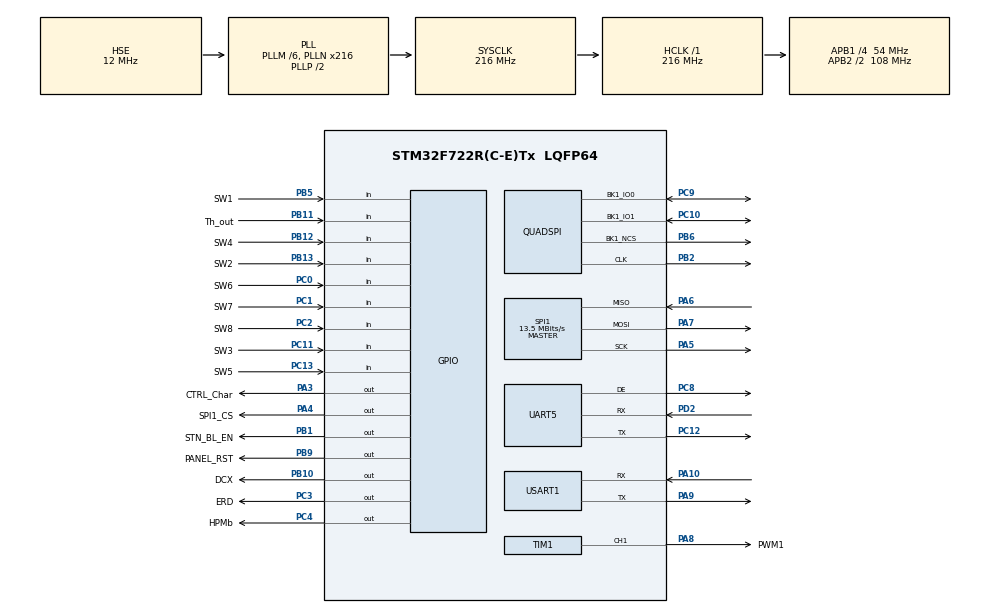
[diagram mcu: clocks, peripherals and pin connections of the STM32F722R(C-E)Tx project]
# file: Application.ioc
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CORTEX_M7.ART_ACCLERATOR_ENABLE=1
CORTEX_M7.CPU_DCache=Enabled
CORTEX_M7.CPU_ICache=Enabled
CORTEX_M7.PREFETCH_ENABLE=1
FREERTOS.Tasks01=TouchgfxTask,24,4096,StartTouchgfxTask,Default,NULL,Dynamic,NULL,NULL
FREERTOS.configTOTAL_HEAP_SIZE=65536
FREERTOS.configUSE_APPLICATION_TASK_TAG=1
FREERTOS.configUSE_IDLE_HOOK=1
FREERTOS.configUSE_TICK_HOOK=1
Mcu.Family=STM32F7
Mcu.Name=STM32F722R(C-E)Tx
Mcu.Package=LQFP64
NVIC.PriorityGroup=NVIC_PRIORITYGROUP_4
NVIC.SPI1_IRQn=true\:6\:0\:true\:false\:true\:true\:true\:true
NVIC.TIM6_DAC_IRQn=true\:0\:0\:false\:false\:true\:false\:false\:true
NVIC.TIM7_IRQn=true\:6\:0\:true\:false\:true\:true\:true\:true
NVIC.TIM8_BRK_TIM12_IRQn=true\:5\:0\:false\:false\:true\:true\:true\:true
NVIC.TimeBase=TIM6_DAC_IRQn
NVIC.TimeBaseIP=TIM6
NVIC.UART5_IRQn=true\:5\:0\:false\:false\:true\:true\:true\:true
NVIC.USART1_IRQn=true\:5\:0\:false\:false\:true\:true\:true\:true
PA0-WKUP.Mode=SYS_WakeUp0
PA0-WKUP.Signal=SYS_WKUP1
PA10.Mode=Asynchronous
PA10.Signal=USART1_RX
PA13.Mode=Serial_Wire
PA13.Signal=SYS_JTMS-SWDIO
PA14.Mode=Serial_Wire
PA14.Signal=SYS_JTCK-SWCLK
PA3.GPIO_Label=CTRL_Char
PA3.GPIO_Speed=GPIO_SPEED_FREQ_VERY_HIGH
PA3.Signal=GPIO_Output
PA4.GPIO_Label=SPI1_CS
PA4.GPIO_Speed=GPIO_SPEED_FREQ_VERY_HIGH
PA4.PinState=GPIO_PIN_SET
PA4.Signal=GPIO_Output
PA5.Mode=Full_Duplex_Master
PA5.Signal=SPI1_SCK
PA6.Mode=Full_Duplex_Master
PA6.Signal=SPI1_MISO
PA7.Mode=Full_Duplex_Master
PA7.Signal=SPI1_MOSI
PA8.GPIO_Label=PWM1
PA8.GPIO_Speed=GPIO_SPEED_FREQ_VERY_HIGH
PA8.Signal=S_TIM1_CH1
PA9.Mode=Asynchronous
PA9.Signal=USART1_TX
PB1.GPIO_Label=STN_BL_EN
PB1.Signal=GPIO_Output
PB10.GPIO_Label=DCX
PB10.GPIO_Speed=GPIO_SPEED_FREQ_VERY_HIGH
PB10.PinState=GPIO_PIN_SET
PB10.Signal=GPIO_Output
PB11.GPIO_Label=Th_out
PB11.Signal=GPIO_Input
PB12.GPIO_Label=SW4
PB12.Signal=GPIO_Input
PB13.GPIO_Label=SW2
PB13.Signal=GPIO_Input
PB2.Mode=Single Bank 1 2IOs
PB2.Signal=QUADSPI_CLK
PB5.GPIO_Label=SW1
PB5.Signal=GPIO_Input
PB6.Mode=Single Bank 1 2IOs
PB6.Signal=QUADSPI_BK1_NCS
PB9.GPIO_Label=PANEL_RST
PB9.GPIO_Speed=GPIO_SPEED_FREQ_VERY_HIGH
PB9.Signal=GPIO_Output
PC0.GPIO_Label=SW6
PC0.Signal=GPIO_Input
PC1.GPIO_Label=SW7
PC1.Signal=GPIO_Input
PC10.Mode=Single Bank 1 2IOs
PC10.Signal=QUADSPI_BK1_IO1
PC11.GPIO_Label=SW3
PC11.Signal=GPIO_Input
PC12.Mode=Asynchronous
PC12.Signal=UART5_TX
PC13.GPIO_Label=SW5
PC13.Signal=GPIO_Input
PC14-OSC32_IN.Mode=LSE-External-Oscillator
PC14-OSC32_IN.Signal=RCC_OSC32_IN
PC15-OSC32_OUT.Mode=LSE-External-Oscillator
PC15-OSC32_OUT.Signal=RCC_OSC32_OUT
PC2.GPIO_Label=SW8
PC2.Signal=GPIO_Input
PC3.GPIO_Label=ERD
PC3.GPIO_Speed=GPIO_SPEED_FREQ_VERY_HIGH
PC3.PinState=GPIO_PIN_SET
PC3.Signal=GPIO_Output
PC4.GPIO_Label=HPMb
PC4.GPIO_Speed=GPIO_SPEED_FREQ_VERY_HIGH
PC4.PinState=GPIO_PIN_SET
PC4.Signal=GPIO_Output
PC8.Mode=Hardware Flow Control (RS485)
PC8.Signal=UART5_DE
PC9.Mode=Single Bank 1 2IOs
PC9.Signal=QUADSPI_BK1_IO0
PD2.Mode=Asynchronous
PD2.Signal=UART5_RX
PH0-OSC_IN.Mode=HSE-External-Oscillator
PH0-OSC_IN.Signal=RCC_OSC_IN
PH1-OSC_OUT.Mode=HSE-External-Oscillator
PH1-OSC_OUT.Signal=RCC_OSC_OUT
ProjectManager.HeapSize=0x200
ProjectManager.StackSize=0x400
ProjectManager.TargetToolchain=STM32CubeIDE
RCC.AHBFreq_Value=216000000
RCC.APB1CLKDivider=RCC_HCLK_DIV4
RCC.APB1Freq_Value=54000000
RCC.APB1TimFreq_Value=108000000
RCC.APB2CLKDivider=RCC_HCLK_DIV2
RCC.APB2Freq_Value=108000000
RCC.APB2TimFreq_Value=216000000
RCC.CortexFreq_Value=216000000
RCC.HCLKFreq_Value=216000000
RCC.HSE_VALUE=12000000
RCC.HSI_VALUE=16000000
RCC.PLLM=6
RCC.PLLN=216
RCC.PLLSourceVirtual=RCC_PLLSOURCE_HSE
RCC.PWREXT_OverDrive=PWREXT_OverDrive_ACTIVATED
RCC.PWR_Regulator_Voltage_Scale=PWR_REGULATOR_VOLTAGE_SCALE1
RCC.SYSCLKFreq_VALUE=216000000
RCC.SYSCLKSource=RCC_SYSCLKSOURCE_PLLCLK
RCC.USBFreq_Value=216000000
RCC.VCOOutputFreq_Value=432000000
SH.S_TIM1_CH1.0=TIM1_CH1,PWM Generation1 CH1
SPI1.BaudRatePrescaler=SPI_BAUDRATEPRESCALER_8
SPI1.CalculateBaudRate=13.5 MBits/s
SPI1.DataSize=SPI_DATASIZE_9BIT
SPI1.Direction=SPI_DIRECTION_2LINES
SPI1.Mode=SPI_MODE_MASTER
SPI1.VirtualType=VM_MASTER
STMicroelectronics.X-CUBE-TOUCHGFX.4.16.1.ApplicationCcGraphicsJjApplication=TouchGFXOoGenerator
STMicroelectronics.X-CUBE-TOUCHGFX.4.16.1.tgfx_buffering_strategy=Single
STMicroelectronics.X-CUBE-TOUCHGFX.4.16.1.tgfx_custom_height=128
STMicroelectronics.X-CUBE-TOUCHGFX.4.16.1.tgfx_custom_width=160
STMicroelectronics.X-CUBE-TOUCHGFX.4.16.1.tgfx_pixel_format=RGB565\:16
TIM1.Channel-PWM\ Generation1\ CH1=TIM_CHANNEL_1
TIM1.OCPolarity_1=TIM_OCPOLARITY_LOW
TIM1.Period=100-1
TIM1.Prescaler=1080-1
TIM12.Period=65535
TIM7.Period=500-1
TIM7.Prescaler=1800-1
USART1.VirtualMode-Asynchronous=VM_ASYNC
VP_CRC_VS_CRC.Mode=CRC_Activate
VP_FREERTOS_VS_CMSIS_V2.Mode=CMSIS_V2
VP_STMicroelectronics.X-CUBE-TOUCHGFX_VS_GraphicsJjApplication_4.16.1.Mode=GraphicsJjApplication
VP_SYS_VS_tim6.Mode=TIM6
VP_TIM12_VS_ClockSourceINT.Mode=Internal
VP_TIM1_VS_ClockSourceINT.Mode=Internal
VP_TIM7_VS_ClockSourceINT.Mode=Enable_Timer
board=custom

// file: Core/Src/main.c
/* USER CODE BEGIN Header */
/**
  ******************************************************************************
  * @file           : main.c
  * @brief          : Main program body
  ******************************************************************************
  * @attention
  *
  * <h2><center>&copy; Copyright (c) 2022 STMicroelectronics.
  * All rights reserved.</center></h2>
  *
  * This software component is licensed by ST under Ultimate Liberty license
  * SLA0044, the "License"; You may not use this file except in compliance with
  * the License. You may obtain a copy of the License at:
  *                             www.st.com/SLA0044
  *
  ******************************************************************************
  */
/* USER CODE END Header */
#include "main.h"
#include "cmsis_os.h"
#include "app_touchgfx.h"

/* USER CODE BEGIN Includes */
#include <../Drivers/Panel/ST7735S.h>
#include "ExHardware.h"

/* USER CODE END Includes */

/* USER CODE BEGIN PTD */
extern uint8_t pucByte;
/* USER CODE END PTD */

CRC_HandleTypeDef hcrc;

QSPI_HandleTypeDef hqspi;

SPI_HandleTypeDef hspi1;

TIM_HandleTypeDef htim1;
TIM_HandleTypeDef htim7;
TIM_HandleTypeDef htim12;

UART_HandleTypeDef huart5;
UART_HandleTypeDef huart1;

/* Definitions for TouchgfxTask */
osThreadId_t TouchgfxTaskHandle;
const osThreadAttr_t TouchgfxTask_attributes = {
  .name = "TouchgfxTask",
  .stack_size = 4096 * 4,
  .priority = (osPriority_t) osPriorityNormal,
};

void SystemClock_Config(void);
static void MX_GPIO_Init(void);
static void MX_CRC_Init(void);
static void MX_QUADSPI_Init(void);
static void MX_SPI1_Init(void);
static void MX_TIM7_Init(void);
static void MX_TIM12_Init(void);
static void MX_UART5_Init(void);
static void MX_USART1_UART_Init(void);
static void MX_TIM1_Init(void);
void StartTouchgfxTask(void *argument);

/* USER CODE BEGIN 0 */

#ifdef __GNUC__
/* With GCC, small printf (option LD Linker->Libraries->Small printf
   set to 'Yes') calls __io_putchar() */
#define PUTCHAR_PROTOTYPE int __io_putchar(int ch)
#else
#define PUTCHAR_PROTOTYPE int fputc(int ch, FILE *f)
#endif /* __GNUC__ */

/**
  * @brief  Retargets the C library printf function to the USART.
  * @param  None
  * @retval None
  */
#if 1
PUTCHAR_PROTOTYPE
{
  /* Place your implementation of fputc here */
  /* e.g. write a character to the EVAL_COM1 and Loop until the end of transmission */
  HAL_UART_Transmit(&huart1, (uint8_t *)&ch, 1, 0xFFFF);

  return ch;
}
#endif

/* USER CODE END 0 */

int main(void)
{

  /* Enable I-Cache---------------------------------------------------------*/
  SCB_EnableICache();

  /* Enable D-Cache---------------------------------------------------------*/
  SCB_EnableDCache();

  /* MCU Configuration--------------------------------------------------------*/

  /* Reset of all peripherals, Initializes the Flash interface and the Systick. */
  HAL_Init();

  /* Configure the system clock */
  SystemClock_Config();

  /* Initialize all configured peripherals */
  MX_GPIO_Init();
  MX_CRC_Init();
  MX_QUADSPI_Init();
  MX_SPI1_Init();
  MX_TIM7_Init();
  MX_TIM12_Init();
  MX_UART5_Init();
  MX_USART1_UART_Init();
  MX_TIM1_Init();
  MX_TouchGFX_Init();
  /* USER CODE BEGIN 2 */
  uint8_t test = 6;
  HAL_UART_Receive_IT(&huart5, &pucByte, 1);
	HAL_GPIO_WritePin( GPIOC, GPIO_PIN_8, GPIO_PIN_SET );
	HAL_UART_Transmit(&huart5, &test, 1, 100);
	HAL_GPIO_WritePin( GPIOC, GPIO_PIN_8, GPIO_PIN_RESET );
  /* Output a message on Hyperterminal using printf function */
  printf("UART Printf Example: retarget the C library printf function to the UART\n\r");
  printf("** Test finished successfully. ** \n\r");

  /* USER CODE END 2 */

  /* Init scheduler */
  osKernelInitialize();

  /* Create the thread(s) */
  /* creation of TouchgfxTask */
  TouchgfxTaskHandle = osThreadNew(StartTouchgfxTask, NULL, &TouchgfxTask_attributes);

  /* Start scheduler */
  osKernelStart();

  /* We should never get here as control is now taken by the scheduler */
  /* Infinite loop */
  while (1)
  {

  }
}

void SystemClock_Config(void)
{
  RCC_OscInitTypeDef RCC_OscInitStruct = {0};
  RCC_ClkInitTypeDef RCC_ClkInitStruct = {0};
  RCC_PeriphCLKInitTypeDef PeriphClkInitStruct = {0};

  /** Configure LSE Drive Capability
  */
  HAL_PWR_EnableBkUpAccess();
  /** Configure the main internal regulator output voltage
  */
  __HAL_RCC_PWR_CLK_ENABLE();
  __HAL_PWR_VOLTAGESCALING_CONFIG(PWR_REGULATOR_VOLTAGE_SCALE1);
  /** Initializes the RCC Oscillators according to the specified parameters
  * in the RCC_OscInitTypeDef structure.
  */
  RCC_OscInitStruct.OscillatorType = RCC_OSCILLATORTYPE_HSE;
  RCC_OscInitStruct.HSEState = RCC_HSE_ON;
  RCC_OscInitStruct.PLL.PLLState = RCC_PLL_ON;
  RCC_OscInitStruct.PLL.PLLSource = RCC_PLLSOURCE_HSE;
  RCC_OscInitStruct.PLL.PLLM = 6;
  RCC_OscInitStruct.PLL.PLLN = 216;
  RCC_OscInitStruct.PLL.PLLP = RCC_PLLP_DIV2;
  RCC_OscInitStruct.PLL.PLLQ = 2;
  if (HAL_RCC_OscConfig(&RCC_OscInitStruct) != HAL_OK)
  {
    Error_Handler();
  }
  /** Activate the Over-Drive mode
  */
  if (HAL_PWREx_EnableOverDrive() != HAL_OK)
  {
    Error_Handler();
  }
  /** Initializes the CPU, AHB and APB buses clocks
  */
  RCC_ClkInitStruct.ClockType = RCC_CLOCKTYPE_HCLK|RCC_CLOCKTYPE_SYSCLK
                              |RCC_CLOCKTYPE_PCLK1|RCC_CLOCKTYPE_PCLK2;
  RCC_ClkInitStruct.SYSCLKSource = RCC_SYSCLKSOURCE_PLLCLK;
  RCC_ClkInitStruct.AHBCLKDivider = RCC_SYSCLK_DIV1;
  RCC_ClkInitStruct.APB1CLKDivider = RCC_HCLK_DIV4;
  RCC_ClkInitStruct.APB2CLKDivider = RCC_HCLK_DIV2;

  if (HAL_RCC_ClockConfig(&RCC_ClkInitStruct, FLASH_LATENCY_7) != HAL_OK)
  {
    Error_Handler();
  }
  PeriphClkInitStruct.PeriphClockSelection = RCC_PERIPHCLK_USART1|RCC_PERIPHCLK_UART5;
  PeriphClkInitStruct.Usart1ClockSelection = RCC_USART1CLKSOURCE_PCLK2;
  PeriphClkInitStruct.Uart5ClockSelection = RCC_UART5CLKSOURCE_PCLK1;
  if (HAL_RCCEx_PeriphCLKConfig(&PeriphClkInitStruct) != HAL_OK)
  {
    Error_Handler();
  }
}

static void MX_CRC_Init(void)
{

  hcrc.Instance = CRC;
  hcrc.Init.DefaultPolynomialUse = DEFAULT_POLYNOMIAL_ENABLE;
  hcrc.Init.DefaultInitValueUse = DEFAULT_INIT_VALUE_ENABLE;
  hcrc.Init.InputDataInversionMode = CRC_INPUTDATA_INVERSION_NONE;
  hcrc.Init.OutputDataInversionMode = CRC_OUTPUTDATA_INVERSION_DISABLE;
  hcrc.InputDataFormat = CRC_INPUTDATA_FORMAT_BYTES;
  if (HAL_CRC_Init(&hcrc) != HAL_OK)
  {
    Error_Handler();
  }

}

static void MX_QUADSPI_Init(void)
{

  /* QUADSPI parameter configuration*/
  hqspi.Instance = QUADSPI;
  hqspi.Init.ClockPrescaler = 255;
  hqspi.Init.FifoThreshold = 1;
  hqspi.Init.SampleShifting = QSPI_SAMPLE_SHIFTING_NONE;
  hqspi.Init.FlashSize = 1;
  hqspi.Init.ChipSelectHighTime = QSPI_CS_HIGH_TIME_1_CYCLE;
  hqspi.Init.ClockMode = QSPI_CLOCK_MODE_0;
  hqspi.Init.FlashID = QSPI_FLASH_ID_1;
  hqspi.Init.DualFlash = QSPI_DUALFLASH_DISABLE;
  if (HAL_QSPI_Init(&hqspi) != HAL_OK)
  {
    Error_Handler();
  }
  /* USER CODE BEGIN QUADSPI_Init 2 */
  ex_flash_init( );
  /* USER CODE END QUADSPI_Init 2 */

}

static void MX_SPI1_Init(void)
{

  /* SPI1 parameter configuration*/
  hspi1.Instance = SPI1;
  hspi1.Init.Mode = SPI_MODE_MASTER;
  hspi1.Init.Direction = SPI_DIRECTION_2LINES;
  hspi1.Init.DataSize = SPI_DATASIZE_9BIT;
  hspi1.Init.CLKPolarity = SPI_POLARITY_LOW;
  hspi1.Init.CLKPhase = SPI_PHASE_1EDGE;
  hspi1.Init.NSS = SPI_NSS_SOFT;
  hspi1.Init.BaudRatePrescaler = SPI_BAUDRATEPRESCALER_8;
  hspi1.Init.FirstBit = SPI_FIRSTBIT_MSB;
  hspi1.Init.TIMode = SPI_TIMODE_DISABLE;
  hspi1.Init.CRCCalculation = SPI_CRCCALCULATION_DISABLE;
  hspi1.Init.CRCPolynomial = 7;
  hspi1.Init.CRCLength = SPI_CRC_LENGTH_DATASIZE;
  hspi1.Init.NSSPMode = SPI_NSS_PULSE_ENABLE;
  if (HAL_SPI_Init(&hspi1) != HAL_OK)
  {
    Error_Handler();
  }

}

static void MX_TIM1_Init(void)
{

  TIM_ClockConfigTypeDef sClockSourceConfig = {0};
  TIM_MasterConfigTypeDef sMasterConfig = {0};
  TIM_OC_InitTypeDef sConfigOC = {0};
  TIM_BreakDeadTimeConfigTypeDef sBreakDeadTimeConfig = {0};

  htim1.Instance = TIM1;
  htim1.Init.Prescaler = 1080-1;
  htim1.Init.CounterMode = TIM_COUNTERMODE_UP;
  htim1.Init.Period = 100-1;
  htim1.Init.ClockDivision = TIM_CLOCKDIVISION_DIV1;
  htim1.Init.RepetitionCounter = 0;
  htim1.Init.AutoReloadPreload = TIM_AUTORELOAD_PRELOAD_DISABLE;
  if (HAL_TIM_Base_Init(&htim1) != HAL_OK)
  {
    Error_Handler();
  }
  sClockSourceConfig.ClockSource = TIM_CLOCKSOURCE_INTERNAL;
  if (HAL_TIM_ConfigClockSource(&htim1, &sClockSourceConfig) != HAL_OK)
  {
    Error_Handler();
  }
  if (HAL_TIM_PWM_Init(&htim1) != HAL_OK)
  {
    Error_Handler();
  }
  sMasterConfig.MasterOutputTrigger = TIM_TRGO_RESET;
  sMasterConfig.MasterOutputTrigger2 = TIM_TRGO2_RESET;
  sMasterConfig.MasterSlaveMode = TIM_MASTERSLAVEMODE_DISABLE;
  if (HAL_TIMEx_MasterConfigSynchronization(&htim1, &sMasterConfig) != HAL_OK)
  {
    Error_Handler();
  }
  sConfigOC.OCMode = TIM_OCMODE_PWM1;
  sConfigOC.Pulse = 0;
  sConfigOC.OCPolarity = TIM_OCPOLARITY_LOW;
  sConfigOC.OCNPolarity = TIM_OCNPOLARITY_HIGH;
  sConfigOC.OCFastMode = TIM_OCFAST_DISABLE;
  sConfigOC.OCIdleState = TIM_OCIDLESTATE_RESET;
  sConfigOC.OCNIdleState = TIM_OCNIDLESTATE_RESET;
  if (HAL_TIM_PWM_ConfigChannel(&htim1, &sConfigOC, TIM_CHANNEL_1) != HAL_OK)
  {
    Error_Handler();
  }
  sBreakDeadTimeConfig.OffStateRunMode = TIM_OSSR_DISABLE;
  sBreakDeadTimeConfig.OffStateIDLEMode = TIM_OSSI_DISABLE;
  sBreakDeadTimeConfig.LockLevel = TIM_LOCKLEVEL_OFF;
  sBreakDeadTimeConfig.DeadTime = 0;
  sBreakDeadTimeConfig.BreakState = TIM_BREAK_DISABLE;
  sBreakDeadTimeConfig.BreakPolarity = TIM_BREAKPOLARITY_HIGH;
  sBreakDeadTimeConfig.BreakFilter = 0;
  sBreakDeadTimeConfig.Break2State = TIM_BREAK2_DISABLE;
  sBreakDeadTimeConfig.Break2Polarity = TIM_BREAK2POLARITY_HIGH;
  sBreakDeadTimeConfig.Break2Filter = 0;
  sBreakDeadTimeConfig.AutomaticOutput = TIM_AUTOMATICOUTPUT_DISABLE;
  if (HAL_TIMEx_ConfigBreakDeadTime(&htim1, &sBreakDeadTimeConfig) != HAL_OK)
  {
    Error_Handler();
  }
  HAL_TIM_MspPostInit(&htim1);

}

static void MX_TIM7_Init(void)
{

  TIM_MasterConfigTypeDef sMasterConfig = {0};

  htim7.Instance = TIM7;
  htim7.Init.Prescaler = 1800-1;
  htim7.Init.CounterMode = TIM_COUNTERMODE_UP;
  htim7.Init.Period = 500-1;
  htim7.Init.AutoReloadPreload = TIM_AUTORELOAD_PRELOAD_DISABLE;
  if (HAL_TIM_Base_Init(&htim7) != HAL_OK)
  {
    Error_Handler();
  }
  sMasterConfig.MasterOutputTrigger = TIM_TRGO_RESET;
  sMasterConfig.MasterSlaveMode = TIM_MASTERSLAVEMODE_DISABLE;
  if (HAL_TIMEx_MasterConfigSynchronization(&htim7, &sMasterConfig) != HAL_OK)
  {
    Error_Handler();
  }
  /* USER CODE BEGIN TIM7_Init 2 */
  HAL_TIM_Base_Start_IT( &htim7 );
  /* USER CODE END TIM7_Init 2 */

}

static void MX_TIM12_Init(void)
{

  TIM_ClockConfigTypeDef sClockSourceConfig = {0};

  htim12.Instance = TIM12;
  htim12.Init.Prescaler = 0;
  htim12.Init.CounterMode = TIM_COUNTERMODE_UP;
  htim12.Init.Period = 65535;
  htim12.Init.ClockDivision = TIM_CLOCKDIVISION_DIV1;
  htim12.Init.AutoReloadPreload = TIM_AUTORELOAD_PRELOAD_DISABLE;
  if (HAL_TIM_Base_Init(&htim12) != HAL_OK)
  {
    Error_Handler();
  }
  sClockSourceConfig.ClockSource = TIM_CLOCKSOURCE_INTERNAL;
  if (HAL_TIM_ConfigClockSource(&htim12, &sClockSourceConfig) != HAL_OK)
  {
    Error_Handler();
  }

}

static void MX_UART5_Init(void)
{

  huart5.Instance = UART5;
  huart5.Init.BaudRate = 115200;
  huart5.Init.WordLength = UART_WORDLENGTH_8B;
  huart5.Init.StopBits = UART_STOPBITS_1;
  huart5.Init.Parity = UART_PARITY_NONE;
  huart5.Init.Mode = UART_MODE_TX_RX;
  huart5.Init.HwFlowCtl = UART_HWCONTROL_NONE;
  huart5.Init.OverSampling = UART_OVERSAMPLING_16;
  huart5.Init.OneBitSampling = UART_ONE_BIT_SAMPLE_DISABLE;
  huart5.AdvancedInit.AdvFeatureInit = UART_ADVFEATURE_NO_INIT;
  if (HAL_RS485Ex_Init(&huart5, UART_DE_POLARITY_HIGH, 0, 0) != HAL_OK)
  {
    Error_Handler();
  }
  /* USER CODE BEGIN UART5_Init 2 */
//  __HAL_UART_ENABLE_IT( &huart5, UART_IT_RXNE );
  HAL_UART_Abort(&huart5);
  /* USER CODE END UART5_Init 2 */

}

static void MX_USART1_UART_Init(void)
{

  huart1.Instance = USART1;
  huart1.Init.BaudRate = 115200;
  huart1.Init.WordLength = UART_WORDLENGTH_8B;
  huart1.Init.StopBits = UART_STOPBITS_1;
  huart1.Init.Parity = UART_PARITY_NONE;
  huart1.Init.Mode = UART_MODE_TX_RX;
  huart1.Init.HwFlowCtl = UART_HWCONTROL_NONE;
  huart1.Init.OverSampling = UART_OVERSAMPLING_16;
  huart1.Init.OneBitSampling = UART_ONE_BIT_SAMPLE_DISABLE;
  huart1.AdvancedInit.AdvFeatureInit = UART_ADVFEATURE_NO_INIT;
  if (HAL_UART_Init(&huart1) != HAL_OK)
  {
    Error_Handler();
  }

}

static void MX_GPIO_Init(void)
{
  GPIO_InitTypeDef GPIO_InitStruct = {0};

  /* GPIO Ports Clock Enable */
  __HAL_RCC_GPIOC_CLK_ENABLE();
  __HAL_RCC_GPIOH_CLK_ENABLE();
  __HAL_RCC_GPIOA_CLK_ENABLE();
  __HAL_RCC_GPIOB_CLK_ENABLE();
  __HAL_RCC_GPIOD_CLK_ENABLE();

  /*Configure GPIO pin Output Level */
  HAL_GPIO_WritePin(GPIOC, ERD_Pin|HPMb_Pin, GPIO_PIN_SET);

  /*Configure GPIO pin Output Level */
  HAL_GPIO_WritePin(CTRL_Char_GPIO_Port, CTRL_Char_Pin, GPIO_PIN_RESET);

  /*Configure GPIO pin Output Level */
  HAL_GPIO_WritePin(SPI1_CS_GPIO_Port, SPI1_CS_Pin, GPIO_PIN_SET);

  /*Configure GPIO pin Output Level */
  HAL_GPIO_WritePin(GPIOB, STN_BL_EN_Pin|PANEL_RST_Pin, GPIO_PIN_RESET);

  /*Configure GPIO pin Output Level */
  HAL_GPIO_WritePin(DCX_GPIO_Port, DCX_Pin, GPIO_PIN_SET);

  /*Configure GPIO pins : SW5_Pin SW6_Pin SW7_Pin SW8_Pin
                           SW3_Pin */
  GPIO_InitStruct.Pin = SW5_Pin|SW6_Pin|SW7_Pin|SW8_Pin
                          |SW3_Pin;
  GPIO_InitStruct.Mode = GPIO_MODE_INPUT;
  GPIO_InitStruct.Pull = GPIO_NOPULL;
  HAL_GPIO_Init(GPIOC, &GPIO_InitStruct);

  /*Configure GPIO pins : ERD_Pin HPMb_Pin */
  GPIO_InitStruct.Pin = ERD_Pin|HPMb_Pin;
  GPIO_InitStruct.Mode = GPIO_MODE_OUTPUT_PP;
  GPIO_InitStruct.Pull = GPIO_NOPULL;
  GPIO_InitStruct.Speed = GPIO_SPEED_FREQ_VERY_HIGH;
  HAL_GPIO_Init(GPIOC, &GPIO_InitStruct);

  /*Configure GPIO pins : PA1 PA2 PA11 PA12
                           PA15 */
  GPIO_InitStruct.Pin = GPIO_PIN_1|GPIO_PIN_2|GPIO_PIN_11|GPIO_PIN_12
                          |GPIO_PIN_15;
  GPIO_InitStruct.Mode = GPIO_MODE_ANALOG;
  GPIO_InitStruct.Pull = GPIO_NOPULL;
  HAL_GPIO_Init(GPIOA, &GPIO_InitStruct);

  /*Configure GPIO pins : CTRL_Char_Pin SPI1_CS_Pin */
  GPIO_InitStruct.Pin = CTRL_Char_Pin|SPI1_CS_Pin;
  GPIO_InitStruct.Mode = GPIO_MODE_OUTPUT_PP;
  GPIO_InitStruct.Pull = GPIO_NOPULL;
  GPIO_InitStruct.Speed = GPIO_SPEED_FREQ_VERY_HIGH;
  HAL_GPIO_Init(GPIOA, &GPIO_InitStruct);

  /*Configure GPIO pins : PB0 PB14 PB15 PB3
                           PB4 PB7 PB8 */
  GPIO_InitStruct.Pin = GPIO_PIN_0|GPIO_PIN_14|GPIO_PIN_15|GPIO_PIN_3
                          |GPIO_PIN_4|GPIO_PIN_7|GPIO_PIN_8;
  GPIO_InitStruct.Mode = GPIO_MODE_ANALOG;
  GPIO_InitStruct.Pull = GPIO_NOPULL;
  HAL_GPIO_Init(GPIOB, &GPIO_InitStruct);

  /*Configure GPIO pin : STN_BL_EN_Pin */
  GPIO_InitStruct.Pin = STN_BL_EN_Pin;
  GPIO_InitStruct.Mode = GPIO_MODE_OUTPUT_PP;
  GPIO_InitStruct.Pull = GPIO_NOPULL;
  GPIO_InitStruct.Speed = GPIO_SPEED_FREQ_LOW;
  HAL_GPIO_Init(STN_BL_EN_GPIO_Port, &GPIO_InitStruct);

  /*Configure GPIO pins : DCX_Pin PANEL_RST_Pin */
  GPIO_InitStruct.Pin = DCX_Pin|PANEL_RST_Pin;
  GPIO_InitStruct.Mode = GPIO_MODE_OUTPUT_PP;
  GPIO_InitStruct.Pull = GPIO_NOPULL;
  GPIO_InitStruct.Speed = GPIO_SPEED_FREQ_VERY_HIGH;
  HAL_GPIO_Init(GPIOB, &GPIO_InitStruct);

  /*Configure GPIO pins : Th_out_Pin SW4_Pin SW2_Pin SW1_Pin */
  GPIO_InitStruct.Pin = Th_out_Pin|SW4_Pin|SW2_Pin|SW1_Pin;
  GPIO_InitStruct.Mode = GPIO_MODE_INPUT;
  GPIO_InitStruct.Pull = GPIO_NOPULL;
  HAL_GPIO_Init(GPIOB, &GPIO_InitStruct);

  /*Configure GPIO pins : PC6 PC7 */
  GPIO_InitStruct.Pin = GPIO_PIN_6|GPIO_PIN_7;
  GPIO_InitStruct.Mode = GPIO_MODE_ANALOG;
  GPIO_InitStruct.Pull = GPIO_NOPULL;
  HAL_GPIO_Init(GPIOC, &GPIO_InitStruct);

}

/* USER CODE BEGIN 4 */

void HAL_SPI_TxCpltCallback(SPI_HandleTypeDef *hspi)
{
	if( hspi->Instance == SPI1 )
	{
		clearTransmitActive( );
//		DisplayDriver_TransferCompleteCallback();
	}
}

/* USER CODE END 4 */

void StartTouchgfxTask(void *argument)
{
  /* USER CODE BEGIN 5 */
  ST7735S_init( &hspi1,
		  	    PANEL_RST_GPIO_Port, PANEL_RST_Pin,
				SPI1_CS_GPIO_Port, SPI1_CS_Pin,
				DCX_GPIO_Port, DCX_Pin );

  Backlight_Control( BL_ON );
  Set_Backlight_Duty( 100 );

  MX_TouchGFX_Process( );
  /* Infinite loop */
  for(;;)
  {
    osDelay(1);
  }
  /* USER CODE END 5 */
}

void HAL_TIM_PeriodElapsedCallback(TIM_HandleTypeDef *htim)
{
  if (htim->Instance == TIM6) {
    HAL_IncTick();
  }
  /* USER CODE BEGIN Callback 1 */
  if (htim->Instance == TIM7) {
	  touchgfxSignalVSync( );
  }
  /* USER CODE END Callback 1 */
}

void Error_Handler(void)
{
  __disable_irq();
  while (1)
  {
  }
}

/************************ (C) COPYRIGHT STMicroelectronics *****END OF FILE****/
